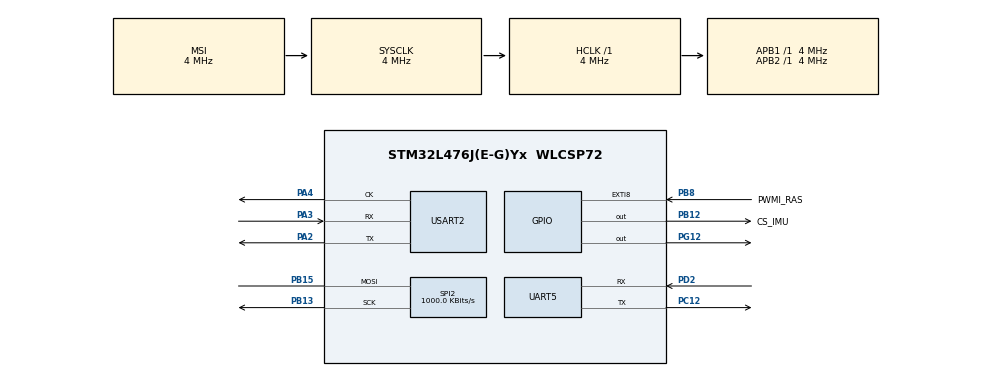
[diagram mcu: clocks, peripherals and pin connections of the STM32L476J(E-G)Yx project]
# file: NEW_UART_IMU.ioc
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Mcu.Family=STM32L4
Mcu.Name=STM32L476J(E-G)Yx
Mcu.Package=WLCSP72
NVIC.EXTI9_5_IRQn=true\:0\:0\:false\:false\:true\:true\:true
NVIC.PriorityGroup=NVIC_PRIORITYGROUP_4
NVIC.UART5_IRQn=true\:0\:0\:true\:false\:true\:true\:true
PA2.Mode=Synchronous
PA2.Signal=USART2_TX
PA3.Mode=Synchronous
PA3.Signal=USART2_RX
PA4.Mode=Synchronous
PA4.Signal=USART2_CK
PB12.GPIO_Label=CS_IMU
PB12.GPIO_PuPd=GPIO_PULLDOWN
PB12.Signal=GPIO_Output
PB13.Mode=Simplex_Bidirectional_Master
PB13.Signal=SPI2_SCK
PB15.GPIO_PuPd=GPIO_NOPULL
PB15.Mode=Simplex_Bidirectional_Master
PB15.Signal=SPI2_MOSI
PB8.GPIO_Label=PWMI_RAS
PB8.GPIO_ModeDefaultEXTI=GPIO_MODE_IT_RISING_FALLING
PB8.Signal=GPXTI8
PC12.Mode=Asynchronous
PC12.Signal=UART5_TX
PD2.Mode=Asynchronous
PD2.Signal=UART5_RX
PG12.Signal=GPIO_Output
ProjectManager.HeapSize=0x200
ProjectManager.StackSize=0x400
ProjectManager.TargetToolchain=STM32CubeIDE
RCC.AHBFreq_Value=4000000
RCC.APB1Freq_Value=4000000
RCC.APB1TimFreq_Value=4000000
RCC.APB2Freq_Value=4000000
RCC.APB2TimFreq_Value=4000000
RCC.CortexFreq_Value=4000000
RCC.HCLKFreq_Value=4000000
RCC.HSE_VALUE=8000000
RCC.HSI_VALUE=16000000
RCC.LSE_VALUE=32768
RCC.MSI_VALUE=4000000
RCC.SYSCLKFreq_VALUE=4000000
RCC.VCOOutputFreq_Value=32000000
SPI2.BaudRatePrescaler=SPI_BAUDRATEPRESCALER_4
SPI2.CLKPhase=SPI_PHASE_2EDGE
SPI2.CLKPolarity=SPI_POLARITY_HIGH
SPI2.CalculateBaudRate=1000.0 KBits/s
SPI2.DataSize=SPI_DATASIZE_8BIT
SPI2.Direction=SPI_DIRECTION_1LINE
SPI2.Mode=SPI_MODE_MASTER
SPI2.VirtualType=VM_MASTER
UART5.MSBFirstParam=UART_ADVFEATURE_MSBFIRST_DISABLE
USART2.VirtualMode-Synchronous=VM_SYNC
board=custom

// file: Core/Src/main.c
/* USER CODE BEGIN Header */
/**
  ******************************************************************************
  * @file           : main.c
  * @brief          : Main program body
  ******************************************************************************
  * @attention
  *
  * <h2><center>&copy; Copyright (c) 2021 STMicroelectronics.
  * All rights reserved.</center></h2>
  *
  * This software component is licensed by ST under BSD 3-Clause license,
  * the "License"; You may not use this file except in compliance with the
  * License. You may obtain a copy of the License at:
  *                        opensource.org/licenses/BSD-3-Clause
  *
  ******************************************************************************
  */
/* USER CODE END Header */
#include "main.h"

/* USER CODE BEGIN Includes */
#include <stdio.h>
/* USER CODE END Includes */

SPI_HandleTypeDef hspi2;

UART_HandleTypeDef huart5;
USART_HandleTypeDef husart2;

/* USER CODE BEGIN PV */

uint32_t Timeout=10000;
SPI_HandleTypeDef hspi2;
HAL_StatusTypeDef uart;
HAL_StatusTypeDef status_spi;
uint32_t TIMEOUT_DURATION=5000;
uint8_t flag=1;
uint8_t rxBuffer[7]={0};
uint8_t aTxBuffer[]="hello\r\n";
uint16_t i=0;
uint8_t SPI_ready=1;
int16_t accel_data_x[4096]={0};
int16_t accel_data_y[4096]={0};
int16_t accel_data_z[4096]={0};
uint32_t time[4096]={0};
static int16_t data_raw_acceleration[3];
float acc_x;
float acc_y;
float acc_z;
/* USER CODE END PV */

void SystemClock_Config(void);
static void MX_GPIO_Init(void);
static void MX_SPI2_Init(void);
static void MX_UART5_Init(void);
static void MX_USART2_Init(void);
/* USER CODE BEGIN PFP */
void lsm6dsm_init(void);
float lsm6dsm_from_fs2g_to_mg(int16_t lsb);
float lsm6dsm_from_fs4g_to_mg(int16_t lsb);
float lsm6dsm_from_fs8g_to_mg(int16_t lsb);
float lsm6dsm_from_fs16g_to_mg(int16_t lsb);
float lsm6dsm_from_fs500dps_to_mdps(int16_t lsb);
uint16_t lsm6dsm_read_accel(int16_t* accel_x,int16_t* accel_y,int16_t* accel_z);
int32_t lsm6dsm_acceleration_raw_get(int16_t *val);
static int32_t lsm6ds3_read(void *handle, uint8_t reg, uint8_t *bufp,uint16_t len);
static int32_t lsm6ds3_write(void *handle, uint8_t reg,uint8_t *bufp,uint16_t len);
void whoami(void);
static void Error_Handler_1(void);
uint8_t isKthBitSet(int n, int k);
uint8_t sftwRESET(void);
/* USER CODE END PFP */

int main(void)
{

  /* MCU Configuration--------------------------------------------------------*/

  /* Reset of all peripherals, Initializes the Flash interface and the Systick. */
  HAL_Init();

  /* Configure the system clock */
  SystemClock_Config();

  /* Initialize all configured peripherals */
  MX_GPIO_Init();
  MX_SPI2_Init();
  MX_UART5_Init();
  MX_USART2_Init();
  /* USER CODE BEGIN 2 */
	Error_Handler_1();

	HAL_GPIO_WritePin(GPIOB, GPIO_PIN_12, GPIO_PIN_SET);

	lsm6dsm_init();
	HAL_Delay(200);

	whoami(); // check if device can be found

	// set UART5 interrupt
	HAL_UART_Receive_IT(&huart5, rxBuffer, 7);

  /* USER CODE END 2 */

  /* Infinite loop */
  /* USER CODE BEGIN WHILE */
	HAL_GPIO_WritePin(GPIOG, GPIO_PIN_12, GPIO_PIN_SET); // Switch on LED
	i=0;
//		uint8_t result=0;
//  	uint8_t bufp=0x00;
//  	uint8_t reg=0x1e; // register of IMU where DRDY signal can be found

  while (1)
  {
	  // polling data
	  if(flag==1) // check external interrupt
	  {

//			check if new data is available
//			lsm6ds3_read(&hspi2, reg, &bufp, 1);
//			result=isKthBitSet(bufp, 1);

// 		  	if(1)
//		  	{
		  		// interrupt if PWM occurs
		  		if(i<4096)
		  		{

		  			lsm6dsm_acceleration_raw_get(data_raw_acceleration);
		  			// acc_x=lsm6dsm_from_fs4g_to_mg(data_raw_acceleration[0]);
		  			// acc_y=lsm6dsm_from_fs4g_to_mg(data_raw_acceleration[1]);
		  			acc_z=lsm6dsm_from_fs16g_to_mg(data_raw_acceleration[2]);
		  			// accel_data_x[i]=(int16_t)acc_x;
		  			// accel_data_y[i]=(int16_t)acc_y;
		  			accel_data_z[i]=(int16_t)acc_z;
		  			// time[i]=HAL_GetTick();
		  			i++;
		  			flag=0;

		  		}
		  		else{
		  			i=0;
//		  		}

		  	}
	  }

    /* USER CODE END WHILE */

  }
}

void SystemClock_Config(void)
{
  RCC_OscInitTypeDef RCC_OscInitStruct = {0};
  RCC_ClkInitTypeDef RCC_ClkInitStruct = {0};

  /** Configure the main internal regulator output voltage
  */
  if (HAL_PWREx_ControlVoltageScaling(PWR_REGULATOR_VOLTAGE_SCALE1) != HAL_OK)
  {
    Error_Handler();
  }
  /** Initializes the RCC Oscillators according to the specified parameters
  * in the RCC_OscInitTypeDef structure.
  */
  RCC_OscInitStruct.OscillatorType = RCC_OSCILLATORTYPE_MSI;
  RCC_OscInitStruct.MSIState = RCC_MSI_ON;
  RCC_OscInitStruct.MSICalibrationValue = 0;
  RCC_OscInitStruct.MSIClockRange = RCC_MSIRANGE_6;
  RCC_OscInitStruct.PLL.PLLState = RCC_PLL_NONE;
  if (HAL_RCC_OscConfig(&RCC_OscInitStruct) != HAL_OK)
  {
    Error_Handler();
  }
  /** Initializes the CPU, AHB and APB buses clocks
  */
  RCC_ClkInitStruct.ClockType = RCC_CLOCKTYPE_HCLK|RCC_CLOCKTYPE_SYSCLK
                              |RCC_CLOCKTYPE_PCLK1|RCC_CLOCKTYPE_PCLK2;
  RCC_ClkInitStruct.SYSCLKSource = RCC_SYSCLKSOURCE_MSI;
  RCC_ClkInitStruct.AHBCLKDivider = RCC_SYSCLK_DIV1;
  RCC_ClkInitStruct.APB1CLKDivider = RCC_HCLK_DIV1;
  RCC_ClkInitStruct.APB2CLKDivider = RCC_HCLK_DIV1;

  if (HAL_RCC_ClockConfig(&RCC_ClkInitStruct, FLASH_LATENCY_0) != HAL_OK)
  {
    Error_Handler();
  }
}

static void MX_SPI2_Init(void)
{

  /* SPI2 parameter configuration*/
  hspi2.Instance = SPI2;
  hspi2.Init.Mode = SPI_MODE_MASTER;
  hspi2.Init.Direction = SPI_DIRECTION_1LINE;
  hspi2.Init.DataSize = SPI_DATASIZE_8BIT;
  hspi2.Init.CLKPolarity = SPI_POLARITY_HIGH;
  hspi2.Init.CLKPhase = SPI_PHASE_2EDGE;
  hspi2.Init.NSS = SPI_NSS_SOFT;
  hspi2.Init.BaudRatePrescaler = SPI_BAUDRATEPRESCALER_4;
  hspi2.Init.FirstBit = SPI_FIRSTBIT_MSB;
  hspi2.Init.TIMode = SPI_TIMODE_DISABLE;
  hspi2.Init.CRCCalculation = SPI_CRCCALCULATION_DISABLE;
  hspi2.Init.CRCPolynomial = 7;
  hspi2.Init.CRCLength = SPI_CRC_LENGTH_DATASIZE;
  hspi2.Init.NSSPMode = SPI_NSS_PULSE_DISABLE;
  if (HAL_SPI_Init(&hspi2) != HAL_OK)
  {
    Error_Handler();
  }

}

static void MX_UART5_Init(void)
{

  huart5.Instance = UART5;
  huart5.Init.BaudRate = 115200;
  huart5.Init.WordLength = UART_WORDLENGTH_8B;
  huart5.Init.StopBits = UART_STOPBITS_1;
  huart5.Init.Parity = UART_PARITY_NONE;
  huart5.Init.Mode = UART_MODE_TX_RX;
  huart5.Init.HwFlowCtl = UART_HWCONTROL_NONE;
  huart5.Init.OverSampling = UART_OVERSAMPLING_16;
  huart5.Init.OneBitSampling = UART_ONE_BIT_SAMPLE_DISABLE;
  huart5.AdvancedInit.AdvFeatureInit = UART_ADVFEATURE_NO_INIT;
  if (HAL_UART_Init(&huart5) != HAL_OK)
  {
    Error_Handler();
  }

}

static void MX_USART2_Init(void)
{

  husart2.Instance = USART2;
  husart2.Init.BaudRate = 115200;
  husart2.Init.WordLength = USART_WORDLENGTH_8B;
  husart2.Init.StopBits = USART_STOPBITS_1;
  husart2.Init.Parity = USART_PARITY_NONE;
  husart2.Init.Mode = USART_MODE_TX_RX;
  husart2.Init.CLKPolarity = USART_POLARITY_LOW;
  husart2.Init.CLKPhase = USART_PHASE_1EDGE;
  husart2.Init.CLKLastBit = USART_LASTBIT_DISABLE;
  if (HAL_USART_Init(&husart2) != HAL_OK)
  {
    Error_Handler();
  }

}

static void MX_GPIO_Init(void)
{
  GPIO_InitTypeDef GPIO_InitStruct = {0};

  /* GPIO Ports Clock Enable */
  __HAL_RCC_GPIOD_CLK_ENABLE();
  __HAL_RCC_GPIOC_CLK_ENABLE();
  __HAL_RCC_GPIOG_CLK_ENABLE();
  HAL_PWREx_EnableVddIO2();
  __HAL_RCC_GPIOB_CLK_ENABLE();
  __HAL_RCC_GPIOA_CLK_ENABLE();

  /*Configure GPIO pin Output Level */
  HAL_GPIO_WritePin(GPIOG, GPIO_PIN_12, GPIO_PIN_RESET);

  /*Configure GPIO pin Output Level */
  HAL_GPIO_WritePin(CS_IMU_GPIO_Port, CS_IMU_Pin, GPIO_PIN_RESET);

  /*Configure GPIO pin : PG12 */
  GPIO_InitStruct.Pin = GPIO_PIN_12;
  GPIO_InitStruct.Mode = GPIO_MODE_OUTPUT_PP;
  GPIO_InitStruct.Pull = GPIO_NOPULL;
  GPIO_InitStruct.Speed = GPIO_SPEED_FREQ_LOW;
  HAL_GPIO_Init(GPIOG, &GPIO_InitStruct);

  /*Configure GPIO pin : PWMI_RAS_Pin */
  GPIO_InitStruct.Pin = PWMI_RAS_Pin;
  GPIO_InitStruct.Mode = GPIO_MODE_IT_RISING;
  GPIO_InitStruct.Pull = GPIO_NOPULL;
  HAL_GPIO_Init(PWMI_RAS_GPIO_Port, &GPIO_InitStruct);

  /*Configure GPIO pin : CS_IMU_Pin */
  GPIO_InitStruct.Pin = CS_IMU_Pin;
  GPIO_InitStruct.Mode = GPIO_MODE_OUTPUT_PP;
  GPIO_InitStruct.Pull = GPIO_PULLDOWN;
  GPIO_InitStruct.Speed = GPIO_SPEED_FREQ_LOW;
  HAL_GPIO_Init(CS_IMU_GPIO_Port, &GPIO_InitStruct);

  /* EXTI interrupt init*/
  HAL_NVIC_SetPriority(EXTI9_5_IRQn, 0, 0);
  HAL_NVIC_EnableIRQ(EXTI9_5_IRQn);

}

/* USER CODE BEGIN 4 */
uint8_t sftwRESET(void)
{
	uint32_t len =1;
	uint8_t bufp;
	uint8_t read_reg;
	// LSM6DS3H_REG_CTRL3_C
	// set 3-wire SPI mode
	// set block data update
	bufp=0b11111110;
	uint8_t reg=LSM6DS3H_REG_CTRL3_C;
	lsm6ds3_read(&hspi2, reg, &read_reg, len);
	bufp&=read_reg;
	lsm6ds3_write(&hspi2,reg, &bufp, len);
	return 0;
}

void whoami(void)
{
	// adr_WHO_AM_I has to be 0x6a
	uint8_t who_am_i=0x00;
	uint8_t who_am_i_reg=0x0f;

	lsm6ds3_read(&hspi2, who_am_i_reg, &who_am_i, 1);

	if(who_am_i!=0x6a)
	{
		// error when jumping in here
		// device not found!!!
		// possible problems can be wrong DEBUG port is used
		while(1)
		{
			lsm6ds3_read(&hspi2, who_am_i_reg, &who_am_i, 1);
			if(who_am_i==0x6a){break;}
		}
	}
}

void HAL_UART_RxCpltCallback(UART_HandleTypeDef *huart)
{
	// __NOP(); // used to debug the Callback
	int 	size;
	char 	data_s[256];
	uint16_t length_data_array=4096;

	for(int j=0; j<length_data_array;j++)
	{
		size=sprintf(data_s, "%05d\n",accel_data_z[j]);
		HAL_UART_Transmit(&huart5,(uint8_t *)data_s, size, Timeout);
	}
	i=0;
	HAL_UART_Receive_IT(&huart5, rxBuffer, 7);
}

static void Error_Handler_1(void)
{
	HAL_GPIO_WritePin(GPIOG, GPIO_PIN_12, GPIO_PIN_SET);
	HAL_Delay(400);
	HAL_GPIO_WritePin(GPIOG, GPIO_PIN_12, GPIO_PIN_RESET);
	HAL_Delay(400);
	HAL_GPIO_WritePin(GPIOG, GPIO_PIN_12, GPIO_PIN_SET);
	HAL_Delay(400);
	HAL_GPIO_WritePin(GPIOG, GPIO_PIN_12, GPIO_PIN_RESET);
	HAL_Delay(400);
	HAL_GPIO_WritePin(GPIOG, GPIO_PIN_12, GPIO_PIN_SET);
	HAL_Delay(400);
	HAL_GPIO_WritePin(GPIOG, GPIO_PIN_12, GPIO_PIN_RESET);
}

void lsm6dsm_init(void)
{
	uint32_t len =1;
	uint8_t bufp;
	// LSM6DS3H_REG_CTRL3_C
	// set 3-wire SPI mode
	// set block data update
	bufp=BDU|SIM|IF_INC; //0b01001100;
	uint8_t reg=LSM6DS3H_REG_CTRL3_C;
	lsm6ds3_write(&hspi2,reg, &bufp, len);

	// LSM6DS3H_REG_CTRL1_XL
	// Values for acceleration
	// ODR_XL set to 6.66kHz
	// FS of accelerometer set to +- 4g
	// BW0_XL BW set to 400Hz
	bufp=ODR_6660Hz|FS_16g; // 0b10101000;
	reg=LSM6DS3H_REG_CTRL1_XL;
	lsm6ds3_write(&hspi2, reg, &bufp, len);

	// disable latched mode
	bufp=DRDY_LATCHED;
	reg=LSM6DS3H_REG_DRDY_PULSE_CFG;
	lsm6ds3_write(&hspi2, reg, &bufp, len);

}

float lsm6dsm_from_fs2g_to_mg(int16_t lsb)
{
  return ((float)lsb * 0.061f);
}

float lsm6dsm_from_fs4g_to_mg(int16_t lsb)
{
  return ((float)lsb * 0.122f);
}

float lsm6dsm_from_fs8g_to_mg(int16_t lsb)
{
  return ((float)lsb * 0.244f);
}

float lsm6dsm_from_fs16g_to_mg(int16_t lsb)
{
  return ((float)lsb * 0.488f);
}

float lsm6dsm_from_fs500dps_to_mdps(int16_t lsb)
{
  return ((float)lsb * 17.50f);
}

uint8_t isKthBitSet(int n, int k)
{
    if (n & (1 << (k - 1)))
        {return 1;}
    else
        {return 0;}
}

uint16_t lsm6dsm_read_accel(int16_t* accel_x,int16_t* accel_y,int16_t* accel_z)
{
	SPI_ready=0;
	uint32_t len=1;
	uint8_t data_H=0x00;
	uint8_t data_L=0x00;
	int16_t data=0;
	float temporary;

	// check if new data is available
	uint8_t bufp=0x00;
	uint8_t reg=0x1e;
	lsm6ds3_read(&hspi2, reg, &bufp, len);

	if(isKthBitSet(bufp,1))
	{

		data_H=0x00;
		data_L=0x00;
		// read z acceleration
		reg=LSM6DS3H_REG_OUTZ_H_XL;
		lsm6ds3_read(&hspi2, reg, &data_H, len);
		reg=LSM6DS3H_REG_OUTZ_L_XL;
		lsm6ds3_read(&hspi2, reg, &data_L, len);
		data=(data_H<<8)|data_L;

		temporary=lsm6dsm_from_fs2g_to_mg(data);
		*accel_z=temporary;
		if(i==100)
		{
			// only for degugging
		}
		// read x acceleration
		reg=LSM6DS3H_REG_OUTX_H_XL;
		lsm6ds3_read(&hspi2, reg, &data_H, len);
		reg=LSM6DS3H_REG_OUTX_L_XL;
		lsm6ds3_read(&hspi2, reg, &data_L, len);
		data=(data_H<<8)|data_L;
		// calc to mg
		temporary=lsm6dsm_from_fs2g_to_mg(data);
		// output measurement
		*accel_x=temporary;

		data_H=0x00;
		data_L=0x00;

		// read y acceleration
		reg=LSM6DS3H_REG_OUTY_H_XL;
		lsm6ds3_read(&hspi2, reg, &data_H, len);
		reg=LSM6DS3H_REG_OUTY_L_XL;
		lsm6ds3_read(&hspi2, reg, &data_L, len);
		data=(data_H<<8)|data_L;

		temporary=lsm6dsm_from_fs2g_to_mg(data);
		*accel_y=temporary;

	}
	else
	{
		*accel_x=9999;
		*accel_y=9999;
		*accel_z=9999;
	}
	SPI_ready=1;
	return 0;

}

int32_t lsm6dsm_acceleration_raw_get(int16_t *val)
{
  uint8_t buff[6];
  int32_t ret;

  lsm6ds3_read(&hspi2, LSM6DS3H_REG_OUTX_L_XL, &buff, 6);
  val[0] = (int16_t)buff[1];
  val[0] = (val[0] * 256) + (int16_t)buff[0];
  val[1] = (int16_t)buff[3];
  val[1] = (val[1] * 256) + (int16_t)buff[2];
  val[2] = (int16_t)buff[5];
  val[2] = (val[2] * 256) + (int16_t)buff[4];

  return ret;
}

uint16_t lsm6dsm_read_gyro(float* gyro_x,float* gyro_y,float* gyro_z)
{
	uint32_t len=1;
	uint8_t data_H;
	uint8_t data_L;
	int16_t data=0;
	float temporary;

	uint8_t reg=LSM6DS3H_REG_OUTX_H_G;
	lsm6ds3_read(&hspi2, reg, &data_H, len);
	reg=LSM6DS3H_REG_OUTX_L_G;
	lsm6ds3_read(&hspi2, reg, &data_L, len);
	data=(data_H<<8)|data_L;

	temporary=lsm6dsm_from_fs500dps_to_mdps(data);

	*gyro_x=temporary;

	reg=LSM6DS3H_REG_OUTY_H_G;
	lsm6ds3_read(&hspi2, reg, &data_H, len);
	reg=LSM6DS3H_REG_OUTY_L_G;
	lsm6ds3_read(&hspi2, reg, &data_L, len);
	data=(data_H<<8)|data_L;

	temporary=lsm6dsm_from_fs500dps_to_mdps(data);

	*gyro_y=temporary;

	reg=LSM6DS3H_REG_OUTZ_H_G;
	lsm6ds3_read(&hspi2, reg, &data_H, len);
	reg=LSM6DS3H_REG_OUTZ_L_G;
	lsm6ds3_read(&hspi2, reg, &data_L, len);
	data=(data_H<<8)|data_L;

	temporary=lsm6dsm_from_fs500dps_to_mdps(data);

	*gyro_z=temporary;

	return 0;

}

static int32_t lsm6ds3_read(void *handle, uint8_t reg, uint8_t *bufp,uint16_t len)
{
	reg |= 0x80; // set MSB to one for read operation
	HAL_GPIO_WritePin(GPIOB, GPIO_PIN_12, GPIO_PIN_RESET);
	status_spi=HAL_SPI_Transmit(handle, &reg, 1, TIMEOUT_DURATION);
	status_spi=HAL_SPI_Receive(handle, bufp, len, TIMEOUT_DURATION);
	HAL_GPIO_WritePin(GPIOB, GPIO_PIN_12, GPIO_PIN_SET);
	while(status_spi!=HAL_OK)
	{
		// spi communication isnt finished or something failed
		return -1;
	}
  return 0;
}

static int32_t lsm6ds3_write(void *handle, uint8_t reg,uint8_t *bufp,uint16_t len)
{
	reg |= 0x00;
	HAL_GPIO_WritePin(GPIOB, GPIO_PIN_12, GPIO_PIN_RESET);
	status_spi=HAL_SPI_Transmit(handle, &reg, 1, TIMEOUT_DURATION);
	status_spi=HAL_SPI_Transmit(handle, bufp, len, TIMEOUT_DURATION);
	HAL_GPIO_WritePin(GPIOB, GPIO_PIN_12, GPIO_PIN_SET);

  return 0;
}

void HAL_GPIO_EXTI_Callback(uint16_t GPIO_Pin)
{
	flag=1;
}

/* USER CODE END 4 */

void Error_Handler(void)
{
  __disable_irq();
  while (1)
  {
  }
}

/************************ (C) COPYRIGHT STMicroelectronics *****END OF FILE****/
